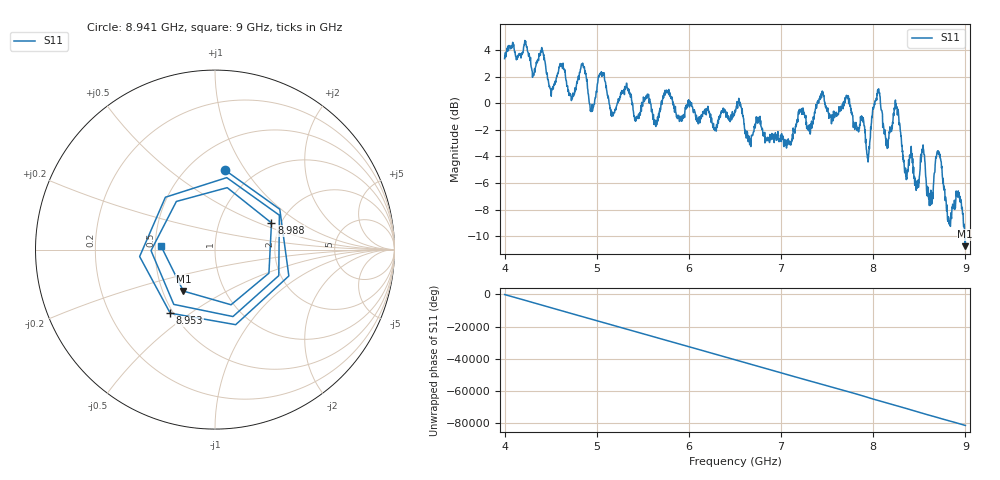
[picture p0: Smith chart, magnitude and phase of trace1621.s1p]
! Created with skrf 1.8.0 (http://scikit-rf.org).
# Hz S RI R 50.0
!freq ReS11 ImS11
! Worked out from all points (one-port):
!   1601 points, 4 GHz to 9 GHz, reference 50 ohm
!   lowest |S11| = -10.7 dB at 8.997 GHz (marker M1), VSWR 1.82, Z = 31.8 - j16.1 ohm
!   |S11| at or under -10 dB: 8.994384 GHz to end of sweep
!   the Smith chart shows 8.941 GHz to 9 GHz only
!   S11 on the Smith chart (normalised r, x): 8.941 GHz: 0.74, +0.81; 8.953 GHz: 0.48, -0.42; 8.988 GHz: 1.79, +0.60; 9 GHz: 0.54, +0.02
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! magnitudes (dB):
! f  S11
! 4 GHz  3.3
! 4.506 GHz  0.5
! 4.625 GHz  2.8
! 4.725 GHz  0.2
! 4.856 GHz  2.7
! 4.944 GHz  -0.6
! 5.05 GHz  2.4
! 5.169 GHz  -0.9
! 5.25 GHz  0.4
! 5.875 GHz  -1.2
! 6.5 GHz  -0.5
! 7.125 GHz  -2.4
! 7.441 GHz  0.5
! 7.75 GHz  -0.2
! 7.941 GHz  -4.0
! 8.044 GHz  0.6
! 8.144 GHz  -2.7
! 8.253 GHz  -0.3
! 8.375 GHz  -5.0
! 8.538 GHz  -3.3
! 8.625 GHz  -6.5
! 8.706 GHz  -3.6
! 8.819 GHz  -8.6
! 8.941 GHz  -7.0
! 8.953 GHz  -7.3
! 8.988 GHz  -9.2
! 8.997 GHz  -10.7
! 9 GHz  -10.4
